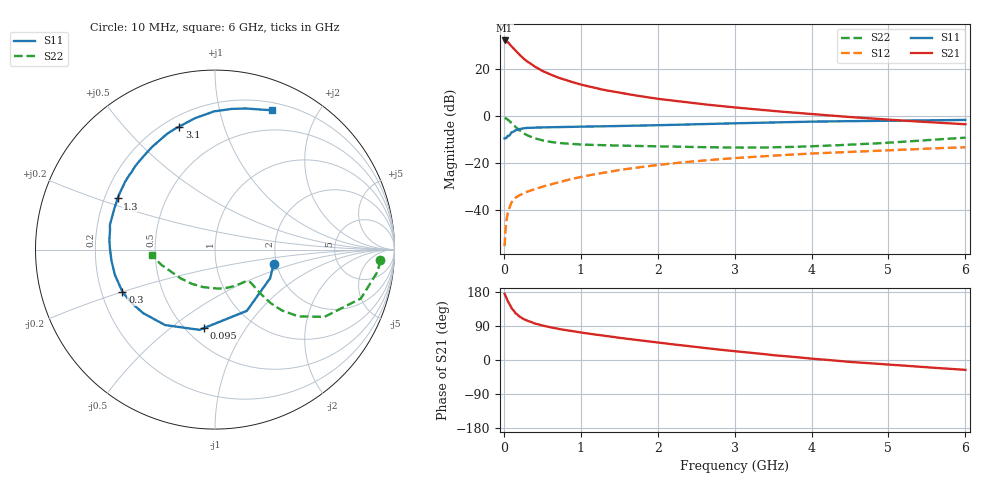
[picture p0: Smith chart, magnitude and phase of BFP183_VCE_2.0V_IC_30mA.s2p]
! Infineon Technologies  Discrete & RF Semiconductors
! BFP183
! VCE = 2.0 V,  IC =  30 mA
! Common Emitter S-Parameters:  Jan 2016
# GHz  S  MA  R  50
!  f  S11  S21  S12  S22
! GHz  MAG  ANG  MAG  ANG  MAG  ANG  MAG  ANG
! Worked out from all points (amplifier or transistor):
!   210 points, 10 MHz to 6 GHz, reference 50 ohm
!   highest |S21| = 32.4 dB at 10 MHz (marker M1)
!   |S21| within 3 dB of that: start of sweep to 115.5 MHz
!   unconditionally stable (mu >= 1): 508.8 MHz to 5.976 GHz
!   at 185 MHz: K = 0.54, MSG = 30.5 dB, |S12| = -34.0 dB
!   at 1.52 GHz: K = 1.25, MAG = 13.4 dB, |S12| = -22.8 dB
!   at 6 GHz: K = 1.00, MSG = 4.9 dB, |S12| = -13.2 dB
!   S11 on the Smith chart (normalised r, x): 10 MHz: 1.93, -0.35; 95 MHz: 0.61, -0.66; 300 MHz: 0.29, -0.20; 1.3 GHz: 0.25, +0.23; 3.1 GHz: 0.26, +0.72; 6 GHz: 0.28, +1.45
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0.01  0.3368 -13.8  41.48 174.9  0.0017 76.9  0.9233 -3.7
0.02  0.346 -27.4  41.21 170.0  0.0036 83.1  0.9141 -7.7
0.05  0.3846 -62.5  38.51 155.3  0.0086 71.4  0.8574 -18.5
0.095  0.4406 -97.8  31.89 139.0  0.014 59.4  0.7286 -30.0
0.1  0.4553 -100.9  31.35 136.8  0.0146 58.6  0.7165 -31.5
0.15  0.5042 -123.5  25.4 124.0  0.0182 53.7  0.5946 -38.7
0.2  0.5344 -138.6  20.84 115.1  0.0206 50.6  0.5056 -42.2
0.24  0.5483 -146.0  18.08 110.1  0.0221 50.1  0.4543 -43.4
0.26  0.5551 -149.4  16.92 107.8  0.0229 49.9  0.4324 -43.8
0.3  0.5668 -155.5  14.96 103.9  0.0246 49.7  0.3961 -44.1
0.4  0.5753 -165.9  11.56 96.4  0.0277 51.3  0.34 -43.9
0.5  0.5802 -173.8  9.307 90.9  0.0315 52.2  0.3062 -43.3
0.6  0.5851 180.0  7.876 86.3  0.0348 54.8  0.2852 -42.9
0.7  0.591 174.8  6.749 82.5  0.0386 56.2  0.2715 -42.7
0.8  0.5932 170.5  5.955 78.9  0.0426 56.5  0.263 -43.0
1.02  0.6027 161.5  4.673 71.9  0.0512 57.6  0.25 -44.6
1.3  0.6131 152.3  3.664 64.1  0.0628 57.1  0.242 -48.4
2.02  0.6475 131.2  2.343 45.6  0.0921 52.8  0.2297 -62.7
3.1  0.7139 106.2  1.496 21.4  0.1316 43.0  0.2147 -94.0
4.1  0.7729 89.0  1.086 2.1  0.1634 33.5  0.2328 -127.6
5.1  0.8071 76.6  0.827 -13.4  0.1915 25.4  0.2802 -155.8
6  0.8381 67.8  0.677 -26.0  0.2184 16.6  0.35 -174.9
